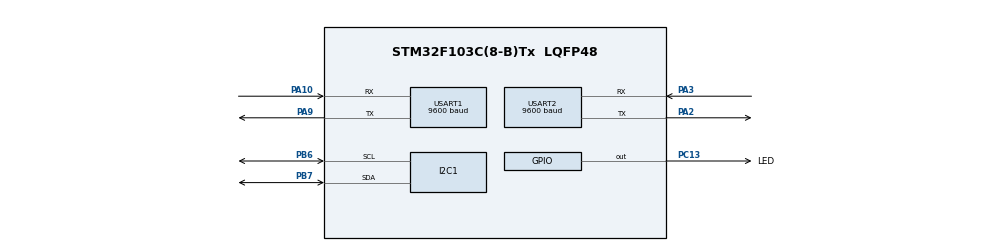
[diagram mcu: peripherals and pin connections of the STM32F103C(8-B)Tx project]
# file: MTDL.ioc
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Mcu.Family=STM32F1
Mcu.Name=STM32F103C(8-B)Tx
Mcu.Package=LQFP48
NVIC.PriorityGroup=NVIC_PRIORITYGROUP_4
PA10.Mode=Asynchronous
PA10.Signal=USART1_RX
PA13.Mode=Serial_Wire
PA13.Signal=SYS_JTMS-SWDIO
PA14.Mode=Serial_Wire
PA14.Signal=SYS_JTCK-SWCLK
PA2.Mode=Asynchronous
PA2.Signal=USART2_TX
PA3.Mode=Asynchronous
PA3.Signal=USART2_RX
PA9.Mode=Asynchronous
PA9.Signal=USART1_TX
PB6.Mode=I2C
PB6.Signal=I2C1_SCL
PB7.Mode=I2C
PB7.Signal=I2C1_SDA
PC13-TAMPER-RTC.GPIO_Label=LED
PC13-TAMPER-RTC.Signal=GPIO_Output
ProjectManager.HeapSize=0x200
ProjectManager.StackSize=0x400
ProjectManager.TargetToolchain=STM32CubeIDE
RCC.APB1Freq_Value=8000000
RCC.APB2Freq_Value=8000000
USART1.BaudRate=9600
USART1.VirtualMode=VM_ASYNC
USART2.BaudRate=9600
USART2.VirtualMode=VM_ASYNC
board=custom

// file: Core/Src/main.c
/* USER CODE BEGIN Header */
/**
 ******************************************************************************
 * @file           : main.c
 * @brief          : Main program body
 ******************************************************************************
 * @attention
 *
 * Copyright (c) 2025 STMicroelectronics.
 * All rights reserved.
 *
 * This software is licensed under terms that can be found in the LICENSE file
 * in the root directory of this software component.
 * If no LICENSE file comes with this software, it is provided AS-IS.
 *
 ******************************************************************************
 */
/* USER CODE END Header */
#include "main.h"

/* USER CODE BEGIN Includes */
#include "protocolComunication.h"
#include "bmp280.h"
#include "stdio.h"
/* USER CODE END Includes */

I2C_HandleTypeDef hi2c1;

UART_HandleTypeDef huart1;
UART_HandleTypeDef huart2;

void SystemClock_Config(void);
static void MX_GPIO_Init(void);
static void MX_I2C1_Init(void);
static void MX_USART1_UART_Init(void);
static void MX_USART2_UART_Init(void);

/* USER CODE BEGIN 0 */
BMP280_HandleTypedef bmp280;

float pressure, temperature, humidity;

uint16_t size;
uint8_t Data[256];
uint8_t Lora_TX_Buffer[20];
/* USER CODE END 0 */

int main(void)
{

	/* MCU Configuration--------------------------------------------------------*/

	/* Reset of all peripherals, Initializes the Flash interface and the Systick. */
	HAL_Init();

	/* Configure the system clock */
	SystemClock_Config();

	/* Initialize all configured peripherals */
	MX_GPIO_Init();
	MX_I2C1_Init();
	MX_USART1_UART_Init();
	MX_USART2_UART_Init();
	/* USER CODE BEGIN 2 */

	uint16_t id = 1;
	uint8_t sequence = 0;
	mavlink_sensor_data_t data;

	bmp280_init_default_params(&bmp280.params);
	bmp280.addr = BMP280_I2C_ADDRESS_0;
	bmp280.i2c = &hi2c1;

	while (!bmp280_init(&bmp280, &bmp280.params)) {
		size = sprintf((char *)Data, "BMP280 initialization failed\n");
		HAL_Delay(2000);
	}
	bool bme280p = bmp280.id == BME280_CHIP_ID;
	size = sprintf((char *)Data, "BMP280: found %s\n", bme280p ? "BME280" : "BMP280");
	/* USER CODE END 2 */

	/* Infinite loop */
	/* USER CODE BEGIN WHILE */
	while (1)
	{
		sequence++;
		bmp280_read_float(&bmp280, &temperature, &pressure, &humidity);
		data.temp = temperature;
		data.humi = humidity;
		data.press = pressure;
		uint8_t len = build_frame(id, data, sizeof(mavlink_sensor_data_t), sequence, Lora_TX_Buffer);

		HAL_UART_Transmit(&huart1, Lora_TX_Buffer,len, 10);
		HAL_Delay(1000);
		/* USER CODE END WHILE */

	}
}

void SystemClock_Config(void)
{
	RCC_OscInitTypeDef RCC_OscInitStruct = {0};
	RCC_ClkInitTypeDef RCC_ClkInitStruct = {0};

	/** Initializes the RCC Oscillators according to the specified parameters
	 * in the RCC_OscInitTypeDef structure.
	 */
	RCC_OscInitStruct.OscillatorType = RCC_OSCILLATORTYPE_HSI;
	RCC_OscInitStruct.HSIState = RCC_HSI_ON;
	RCC_OscInitStruct.HSICalibrationValue = RCC_HSICALIBRATION_DEFAULT;
	RCC_OscInitStruct.PLL.PLLState = RCC_PLL_NONE;
	if (HAL_RCC_OscConfig(&RCC_OscInitStruct) != HAL_OK)
	{
		Error_Handler();
	}

	/** Initializes the CPU, AHB and APB buses clocks
	 */
	RCC_ClkInitStruct.ClockType = RCC_CLOCKTYPE_HCLK|RCC_CLOCKTYPE_SYSCLK
			|RCC_CLOCKTYPE_PCLK1|RCC_CLOCKTYPE_PCLK2;
	RCC_ClkInitStruct.SYSCLKSource = RCC_SYSCLKSOURCE_HSI;
	RCC_ClkInitStruct.AHBCLKDivider = RCC_SYSCLK_DIV1;
	RCC_ClkInitStruct.APB1CLKDivider = RCC_HCLK_DIV1;
	RCC_ClkInitStruct.APB2CLKDivider = RCC_HCLK_DIV1;

	if (HAL_RCC_ClockConfig(&RCC_ClkInitStruct, FLASH_LATENCY_0) != HAL_OK)
	{
		Error_Handler();
	}
}

static void MX_I2C1_Init(void)
{

	hi2c1.Instance = I2C1;
	hi2c1.Init.ClockSpeed = 100000;
	hi2c1.Init.DutyCycle = I2C_DUTYCYCLE_2;
	hi2c1.Init.OwnAddress1 = 0;
	hi2c1.Init.AddressingMode = I2C_ADDRESSINGMODE_7BIT;
	hi2c1.Init.DualAddressMode = I2C_DUALADDRESS_DISABLE;
	hi2c1.Init.OwnAddress2 = 0;
	hi2c1.Init.GeneralCallMode = I2C_GENERALCALL_DISABLE;
	hi2c1.Init.NoStretchMode = I2C_NOSTRETCH_DISABLE;
	if (HAL_I2C_Init(&hi2c1) != HAL_OK)
	{
		Error_Handler();
	}

}

static void MX_USART1_UART_Init(void)
{

	huart1.Instance = USART1;
	huart1.Init.BaudRate = 9600;
	huart1.Init.WordLength = UART_WORDLENGTH_8B;
	huart1.Init.StopBits = UART_STOPBITS_1;
	huart1.Init.Parity = UART_PARITY_NONE;
	huart1.Init.Mode = UART_MODE_TX_RX;
	huart1.Init.HwFlowCtl = UART_HWCONTROL_NONE;
	huart1.Init.OverSampling = UART_OVERSAMPLING_16;
	if (HAL_UART_Init(&huart1) != HAL_OK)
	{
		Error_Handler();
	}

}

static void MX_USART2_UART_Init(void)
{

	huart2.Instance = USART2;
	huart2.Init.BaudRate = 9600;
	huart2.Init.WordLength = UART_WORDLENGTH_8B;
	huart2.Init.StopBits = UART_STOPBITS_1;
	huart2.Init.Parity = UART_PARITY_NONE;
	huart2.Init.Mode = UART_MODE_TX_RX;
	huart2.Init.HwFlowCtl = UART_HWCONTROL_NONE;
	huart2.Init.OverSampling = UART_OVERSAMPLING_16;
	if (HAL_UART_Init(&huart2) != HAL_OK)
	{
		Error_Handler();
	}

}

static void MX_GPIO_Init(void)
{
	GPIO_InitTypeDef GPIO_InitStruct = {0};

	/* GPIO Ports Clock Enable */
	__HAL_RCC_GPIOC_CLK_ENABLE();
	__HAL_RCC_GPIOA_CLK_ENABLE();
	__HAL_RCC_GPIOB_CLK_ENABLE();

	/*Configure GPIO pin Output Level */
	HAL_GPIO_WritePin(LED_GPIO_Port, LED_Pin, GPIO_PIN_RESET);

	/*Configure GPIO pin : LED_Pin */
	GPIO_InitStruct.Pin = LED_Pin;
	GPIO_InitStruct.Mode = GPIO_MODE_OUTPUT_PP;
	GPIO_InitStruct.Pull = GPIO_NOPULL;
	GPIO_InitStruct.Speed = GPIO_SPEED_FREQ_LOW;
	HAL_GPIO_Init(LED_GPIO_Port, &GPIO_InitStruct);

}

void Error_Handler(void)
{
	__disable_irq();
	while (1)
	{
	}
}
